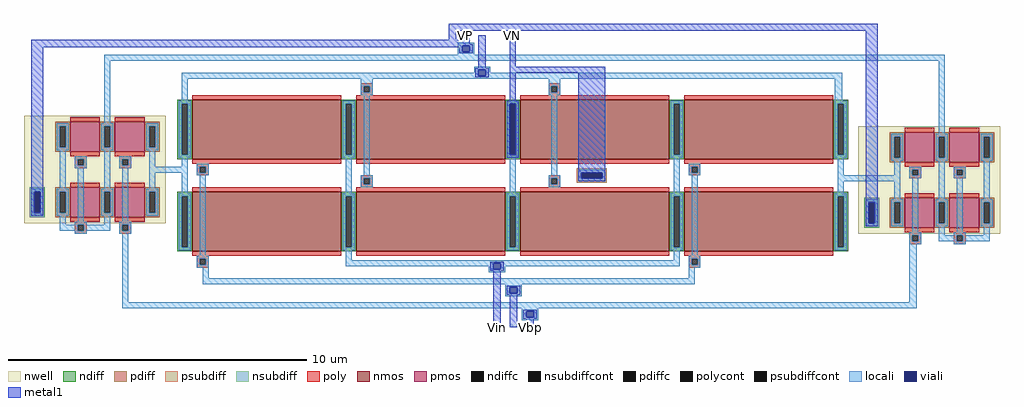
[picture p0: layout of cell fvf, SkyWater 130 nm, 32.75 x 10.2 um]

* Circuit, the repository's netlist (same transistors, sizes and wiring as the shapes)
* SPICE3 file created from fvf.ext - technology: sky130A

X0 Vin Vc Vdsg VN sky130_fd_pr__nfet_01v8 ad=0.5 pd=2.5 as=1 ps=5 w=2 l=5
X1 Vin Vdsg VN VN sky130_fd_pr__nfet_01v8 ad=0.5 pd=2.5 as=0.5 ps=2.5 w=2 l=5
X2 VP VP VP VP sky130_fd_pr__pfet_01v8 ad=0.25 pd=1.5 as=4 ps=24 w=1 l=1
X3 VP VP VP VP sky130_fd_pr__pfet_01v8 ad=0.5 pd=3 as=0 ps=0 w=1 l=1
X4 Vdsg Vc Vin VN sky130_fd_pr__nfet_01v8 ad=1 pd=5 as=0.5 ps=2.5 w=2 l=5
X5 Vdsg Vbp VP VP sky130_fd_pr__pfet_01v8 ad=0.5 pd=3 as=0.25 ps=1.5 w=1 l=1
X6 Vin Vc Vdsg VN sky130_fd_pr__nfet_01v8 ad=0.5 pd=2.5 as=1 ps=5 w=2 l=5
X7 VP Vbp Vdsg VP sky130_fd_pr__pfet_01v8 ad=0.25 pd=1.5 as=0.5 ps=3 w=1 l=1
X8 Vdsg Vc Vin VN sky130_fd_pr__nfet_01v8 ad=1 pd=5 as=0.5 ps=2.5 w=2 l=5
X9 VP VP VP VP sky130_fd_pr__pfet_01v8 ad=0.5 pd=3 as=0 ps=0 w=1 l=1
X10 VP VP VP VP sky130_fd_pr__pfet_01v8 ad=0.25 pd=1.5 as=0 ps=0 w=1 l=1
X11 VN Vdsg Vin VN sky130_fd_pr__nfet_01v8 ad=0.5 pd=2.5 as=0.5 ps=2.5 w=2 l=5
X12 Vin Vdsg VN VN sky130_fd_pr__nfet_01v8 ad=0.5 pd=2.5 as=0.5 ps=2.5 w=2 l=5
X13 Vdsg Vbp VP VP sky130_fd_pr__pfet_01v8 ad=0.5 pd=3 as=0.25 ps=1.5 w=1 l=1
X14 VP Vbp Vdsg VP sky130_fd_pr__pfet_01v8 ad=0.25 pd=1.5 as=0.5 ps=3 w=1 l=1
X15 VN Vdsg Vin VN sky130_fd_pr__nfet_01v8 ad=0.5 pd=2.5 as=0.5 ps=2.5 w=2 l=5
.end

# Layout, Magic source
magic
tech sky130A
<< nwell >>
rect -150 -160 325 200
rect 2650 -195 3125 165
<< nmos >>
rect 415 55 915 255
rect 965 55 1465 255
rect 1515 55 2015 255
rect 2065 55 2565 255
rect 415 -255 915 -55
rect 965 -255 1465 -55
rect 1515 -255 2015 -55
rect 2065 -255 2565 -55
<< pmos >>
rect 5 80 105 180
rect 155 80 255 180
rect 2805 45 2905 145
rect 2955 45 3055 145
rect 5 -140 105 -40
rect 155 -140 255 -40
rect 2805 -175 2905 -75
rect 2955 -175 3055 -75
<< ndiff >>
rect 365 240 415 255
rect 365 70 380 240
rect 400 70 415 240
rect 365 55 415 70
rect 915 240 965 255
rect 915 70 930 240
rect 950 70 965 240
rect 915 55 965 70
rect 1465 240 1515 255
rect 1465 70 1480 240
rect 1500 70 1515 240
rect 1465 55 1515 70
rect 2015 240 2065 255
rect 2015 70 2030 240
rect 2050 70 2065 240
rect 2015 55 2065 70
rect 2565 240 2615 255
rect 2565 70 2580 240
rect 2600 70 2615 240
rect 2565 55 2615 70
rect 365 -70 415 -55
rect 365 -240 380 -70
rect 400 -240 415 -70
rect 365 -255 415 -240
rect 915 -70 965 -55
rect 915 -240 930 -70
rect 950 -240 965 -70
rect 915 -255 965 -240
rect 1465 -70 1515 -55
rect 1465 -240 1480 -70
rect 1500 -240 1515 -70
rect 1465 -255 1515 -240
rect 2015 -70 2065 -55
rect 2015 -240 2030 -70
rect 2050 -240 2065 -70
rect 2015 -255 2065 -240
rect 2565 -70 2615 -55
rect 2565 -240 2580 -70
rect 2600 -240 2615 -70
rect 2565 -255 2615 -240
<< pdiff >>
rect -45 165 5 180
rect -45 95 -30 165
rect -10 95 5 165
rect -45 80 5 95
rect 105 165 155 180
rect 105 95 120 165
rect 140 95 155 165
rect 105 80 155 95
rect 255 165 305 180
rect 255 95 270 165
rect 290 95 305 165
rect 255 80 305 95
rect 2755 130 2805 145
rect 2755 60 2770 130
rect 2790 60 2805 130
rect 2755 45 2805 60
rect 2905 130 2955 145
rect 2905 60 2920 130
rect 2940 60 2955 130
rect 2905 45 2955 60
rect 3055 130 3105 145
rect 3055 60 3070 130
rect 3090 60 3105 130
rect 3055 45 3105 60
rect -45 -55 5 -40
rect -45 -125 -30 -55
rect -10 -125 5 -55
rect -45 -140 5 -125
rect 105 -55 155 -40
rect 105 -125 120 -55
rect 140 -125 155 -55
rect 105 -140 155 -125
rect 255 -55 305 -40
rect 255 -125 270 -55
rect 290 -125 305 -55
rect 255 -140 305 -125
rect 2755 -90 2805 -75
rect 2755 -160 2770 -90
rect 2790 -160 2805 -90
rect 2755 -175 2805 -160
rect 2905 -90 2955 -75
rect 2905 -160 2920 -90
rect 2940 -160 2955 -90
rect 2905 -175 2955 -160
rect 3055 -90 3105 -75
rect 3055 -160 3070 -90
rect 3090 -160 3105 -90
rect 3055 -175 3105 -160
<< ndiffc >>
rect 380 70 400 240
rect 930 70 950 240
rect 1480 70 1500 240
rect 2030 70 2050 240
rect 2580 70 2600 240
rect 380 -240 400 -70
rect 930 -240 950 -70
rect 1480 -240 1500 -70
rect 2030 -240 2050 -70
rect 2580 -240 2600 -70
<< pdiffc >>
rect -30 95 -10 165
rect 120 95 140 165
rect 270 95 290 165
rect 2770 60 2790 130
rect 2920 60 2940 130
rect 3070 60 3090 130
rect -30 -125 -10 -55
rect 120 -125 140 -55
rect 270 -125 290 -55
rect 2770 -160 2790 -90
rect 2920 -160 2940 -90
rect 3070 -160 3090 -90
<< psubdiff >>
rect 1705 10 1805 25
rect 1705 -10 1720 10
rect 1790 -10 1805 10
rect 1705 -25 1805 -10
<< nsubdiff >>
rect -130 -55 -80 -40
rect -130 -125 -115 -55
rect -95 -125 -80 -55
rect -130 -140 -80 -125
rect 2670 -90 2720 -75
rect 2670 -160 2685 -90
rect 2705 -160 2720 -90
rect 2670 -175 2720 -160
<< psubdiffcont >>
rect 1720 -10 1790 10
<< nsubdiffcont >>
rect -115 -125 -95 -55
rect 2685 -160 2705 -90
<< poly >>
rect 980 300 1020 310
rect 980 280 990 300
rect 1010 280 1020 300
rect 980 270 1020 280
rect 1610 300 1650 310
rect 1610 280 1620 300
rect 1640 280 1650 300
rect 1610 270 1650 280
rect 415 255 915 270
rect 965 255 1465 270
rect 1515 255 2015 270
rect 2065 255 2565 270
rect 5 180 105 195
rect 155 180 255 195
rect 5 65 105 80
rect 155 65 255 80
rect 20 55 60 65
rect 20 35 30 55
rect 50 35 60 55
rect 20 25 60 35
rect 170 55 210 65
rect 2805 145 2905 160
rect 2955 145 3055 160
rect 170 35 180 55
rect 200 35 210 55
rect 415 40 915 55
rect 965 40 1465 55
rect 1515 40 2015 55
rect 2065 40 2565 55
rect 170 25 210 35
rect 430 30 470 40
rect 430 10 440 30
rect 460 10 470 30
rect 2080 30 2120 40
rect 2805 30 2905 45
rect 2955 30 3055 45
rect 430 0 470 10
rect 980 -10 1020 0
rect 5 -40 105 -25
rect 155 -40 255 -25
rect 980 -30 990 -10
rect 1010 -30 1020 -10
rect 980 -40 1020 -30
rect 1610 -10 1650 0
rect 1610 -30 1620 -10
rect 1640 -30 1650 -10
rect 2080 10 2090 30
rect 2110 10 2120 30
rect 2080 0 2120 10
rect 2820 20 2860 30
rect 2820 0 2830 20
rect 2850 0 2860 20
rect 2820 -10 2860 0
rect 2970 20 3010 30
rect 2970 0 2980 20
rect 3000 0 3010 20
rect 2970 -10 3010 0
rect 1610 -40 1650 -30
rect 415 -55 915 -40
rect 965 -55 1465 -40
rect 1515 -55 2015 -40
rect 2065 -55 2565 -40
rect 5 -155 105 -140
rect 155 -155 255 -140
rect 20 -165 60 -155
rect 20 -185 30 -165
rect 50 -185 60 -165
rect 20 -195 60 -185
rect 170 -165 210 -155
rect 170 -185 180 -165
rect 200 -185 210 -165
rect 170 -195 210 -185
rect 2805 -75 2905 -60
rect 2955 -75 3055 -60
rect 2805 -190 2905 -175
rect 2955 -190 3055 -175
rect 2820 -200 2860 -190
rect 2820 -220 2830 -200
rect 2850 -220 2860 -200
rect 2820 -230 2860 -220
rect 2970 -200 3010 -190
rect 2970 -220 2980 -200
rect 3000 -220 3010 -200
rect 2970 -230 3010 -220
rect 415 -270 915 -255
rect 965 -270 1465 -255
rect 1515 -270 2015 -255
rect 2065 -270 2565 -255
rect 430 -280 470 -270
rect 430 -300 440 -280
rect 460 -300 470 -280
rect 430 -310 470 -300
rect 2080 -280 2120 -270
rect 2080 -300 2090 -280
rect 2110 -300 2120 -280
rect 2080 -310 2120 -300
<< polycont >>
rect 990 280 1010 300
rect 1620 280 1640 300
rect 30 35 50 55
rect 180 35 200 55
rect 440 10 460 30
rect 990 -30 1010 -10
rect 1620 -30 1640 -10
rect 2090 10 2110 30
rect 2830 0 2850 20
rect 2980 0 3000 20
rect 30 -185 50 -165
rect 180 -185 200 -165
rect 2830 -220 2850 -200
rect 2980 -220 3000 -200
rect 440 -300 460 -280
rect 2090 -300 2110 -280
<< locali >>
rect 1305 435 1360 445
rect 1305 415 1320 435
rect 1345 415 1360 435
rect 1305 405 1360 415
rect 120 385 2940 405
rect 120 175 140 385
rect 1360 355 1415 365
rect 1360 345 1375 355
rect 380 335 1375 345
rect 1400 345 1415 355
rect 1400 335 2595 345
rect 380 325 2595 335
rect 380 250 400 325
rect 980 300 1020 325
rect 980 280 990 300
rect 1010 280 1020 300
rect 980 270 1020 280
rect 1610 300 1650 325
rect 1610 280 1620 300
rect 1640 280 1650 300
rect 1610 270 1650 280
rect 370 240 410 250
rect -40 165 0 175
rect -40 95 -30 165
rect -10 95 0 165
rect -40 85 0 95
rect 110 165 150 175
rect 110 95 120 165
rect 140 95 150 165
rect 110 85 150 95
rect 260 165 300 175
rect 260 95 270 165
rect 290 95 300 165
rect 260 85 300 95
rect -30 -45 -10 85
rect 20 55 60 65
rect 20 35 30 55
rect 50 35 60 55
rect 20 25 60 35
rect -125 -55 -85 -45
rect -125 -125 -115 -55
rect -95 -125 -85 -55
rect -125 -135 -85 -125
rect -40 -55 0 -45
rect -40 -125 -30 -55
rect -10 -125 0 -55
rect -40 -135 0 -125
rect -30 -165 -10 -135
rect 30 -155 50 25
rect 120 -45 140 85
rect 170 55 210 65
rect 170 35 180 55
rect 200 35 210 55
rect 170 25 210 35
rect 270 30 290 85
rect 370 70 380 240
rect 400 70 410 240
rect 370 60 410 70
rect 920 240 960 250
rect 920 70 930 240
rect 950 70 960 240
rect 920 60 960 70
rect 380 30 400 60
rect 110 -55 150 -45
rect 110 -125 120 -55
rect 140 -125 150 -55
rect 110 -135 150 -125
rect 20 -165 60 -155
rect 120 -165 140 -135
rect 180 -155 200 25
rect 270 10 400 30
rect 270 -45 290 10
rect 260 -55 300 -45
rect 260 -125 270 -55
rect 290 -125 300 -55
rect 380 -60 400 10
rect 430 30 470 40
rect 430 10 440 30
rect 460 10 470 30
rect 430 0 470 10
rect 260 -135 300 -125
rect 370 -70 410 -60
rect -30 -185 30 -165
rect 50 -185 140 -165
rect 170 -165 210 -155
rect 170 -185 180 -165
rect 200 -185 210 -165
rect 20 -195 60 -185
rect 170 -195 210 -185
rect 180 -425 200 -195
rect 370 -240 380 -70
rect 400 -240 410 -70
rect 370 -250 410 -240
rect 440 -270 460 0
rect 930 -60 950 60
rect 990 0 1010 270
rect 1470 240 1510 250
rect 1470 70 1480 240
rect 1500 70 1510 240
rect 1470 60 1510 70
rect 980 -10 1020 0
rect 980 -30 990 -10
rect 1010 -30 1020 -10
rect 980 -40 1020 -30
rect 1480 -60 1500 60
rect 1620 0 1640 270
rect 2570 250 2595 325
rect 2020 240 2060 250
rect 2020 70 2030 240
rect 2050 70 2060 240
rect 2020 60 2060 70
rect 2570 240 2610 250
rect 2570 70 2580 240
rect 2600 70 2610 240
rect 2920 140 2940 385
rect 2570 60 2610 70
rect 2760 130 2800 140
rect 2760 60 2770 130
rect 2790 60 2800 130
rect 1710 10 1800 20
rect 1610 -10 1650 0
rect 1610 -30 1620 -10
rect 1640 -30 1650 -10
rect 1710 -10 1720 10
rect 1790 -10 1800 10
rect 1710 -20 1800 -10
rect 1610 -40 1650 -30
rect 2030 -60 2050 60
rect 2080 30 2120 40
rect 2080 10 2090 30
rect 2110 10 2120 30
rect 2080 0 2120 10
rect 2580 0 2600 60
rect 2760 50 2800 60
rect 2910 130 2950 140
rect 2910 60 2920 130
rect 2940 60 2950 130
rect 2910 50 2950 60
rect 3060 130 3100 140
rect 3060 60 3070 130
rect 3090 60 3100 130
rect 3060 50 3100 60
rect 2770 0 2790 50
rect 920 -70 960 -60
rect 920 -240 930 -70
rect 950 -240 960 -70
rect 920 -250 960 -240
rect 1470 -70 1510 -60
rect 1470 -240 1480 -70
rect 1500 -240 1510 -70
rect 1470 -250 1510 -240
rect 2020 -70 2060 -60
rect 2020 -240 2030 -70
rect 2050 -240 2060 -70
rect 2020 -250 2060 -240
rect 430 -280 470 -270
rect 430 -300 440 -280
rect 460 -300 470 -280
rect 430 -310 470 -300
rect 930 -285 950 -250
rect 2030 -285 2050 -250
rect 2090 -270 2110 0
rect 2580 -20 2790 0
rect 2820 20 2860 30
rect 2820 0 2830 20
rect 2850 0 2860 20
rect 2820 -10 2860 0
rect 2580 -60 2600 -20
rect 2570 -70 2610 -60
rect 2570 -240 2580 -70
rect 2600 -240 2610 -70
rect 2770 -80 2790 -20
rect 2675 -90 2715 -80
rect 2675 -160 2685 -90
rect 2705 -160 2715 -90
rect 2675 -170 2715 -160
rect 2760 -90 2800 -80
rect 2760 -160 2770 -90
rect 2790 -160 2800 -90
rect 2760 -170 2800 -160
rect 2830 -190 2850 -10
rect 2920 -80 2940 50
rect 2970 20 3010 30
rect 2970 0 2980 20
rect 3000 0 3010 20
rect 2970 -10 3010 0
rect 2910 -90 2950 -80
rect 2910 -160 2920 -90
rect 2940 -160 2950 -90
rect 2910 -170 2950 -160
rect 2570 -250 2610 -240
rect 2820 -200 2860 -190
rect 2820 -220 2830 -200
rect 2850 -220 2860 -200
rect 2920 -200 2940 -170
rect 2980 -190 3000 -10
rect 3070 -80 3090 50
rect 3060 -90 3100 -80
rect 3060 -160 3070 -90
rect 3090 -160 3100 -90
rect 3060 -170 3100 -160
rect 2970 -200 3010 -190
rect 3070 -200 3090 -170
rect 2920 -220 2980 -200
rect 3000 -220 3090 -200
rect 2820 -230 2860 -220
rect 2970 -230 3010 -220
rect 930 -295 2050 -285
rect 930 -305 1425 -295
rect 450 -345 470 -310
rect 1410 -315 1425 -305
rect 1450 -305 2050 -295
rect 2080 -280 2120 -270
rect 2080 -300 2090 -280
rect 2110 -300 2120 -280
rect 1450 -315 1465 -305
rect 1410 -325 1465 -315
rect 2080 -310 2120 -300
rect 2080 -345 2100 -310
rect 450 -365 2100 -345
rect 1465 -375 1520 -365
rect 1465 -395 1480 -375
rect 1505 -395 1520 -375
rect 1465 -405 1520 -395
rect 2820 -425 2845 -230
rect 180 -445 2845 -425
rect 1520 -455 1575 -445
rect 1520 -475 1535 -455
rect 1560 -475 1575 -455
rect 1520 -485 1575 -475
<< viali >>
rect 1320 415 1345 435
rect 1375 335 1400 355
rect -115 -125 -95 -55
rect 1480 70 1500 240
rect 1720 -10 1790 10
rect 2685 -160 2705 -90
rect 1425 -315 1450 -295
rect 1480 -395 1505 -375
rect 1535 -475 1560 -455
<< metal1 >>
rect 1275 485 2715 510
rect 1275 455 1300 485
rect 1320 455 1345 470
rect -125 440 1345 455
rect -125 435 1355 440
rect -125 430 1320 435
rect -125 -55 -85 430
rect 1310 415 1320 430
rect 1345 415 1355 435
rect 1310 410 1355 415
rect 1375 360 1400 470
rect 1480 365 1500 470
rect 1365 355 1410 360
rect 1365 335 1375 355
rect 1400 335 1410 355
rect 1365 330 1410 335
rect 1480 345 1800 365
rect 1480 250 1500 345
rect 1470 240 1510 250
rect 1470 70 1480 240
rect 1500 70 1510 240
rect 1470 60 1510 70
rect 1710 10 1800 345
rect 1710 -10 1720 10
rect 1790 -10 1800 10
rect 1710 -20 1800 -10
rect -125 -125 -115 -55
rect -95 -125 -85 -55
rect -125 -135 -85 -125
rect 2675 -90 2715 485
rect 2675 -160 2685 -90
rect 2705 -160 2715 -90
rect 2675 -170 2715 -160
rect 1415 -295 1460 -290
rect 1415 -315 1425 -295
rect 1450 -315 1460 -295
rect 1415 -320 1460 -315
rect 1425 -510 1450 -320
rect 1470 -375 1515 -370
rect 1470 -395 1480 -375
rect 1505 -395 1515 -375
rect 1470 -400 1515 -395
rect 1480 -510 1505 -400
rect 1525 -455 1570 -450
rect 1525 -475 1535 -455
rect 1560 -475 1570 -455
rect 1525 -480 1570 -475
rect 1535 -510 1560 -480
<< labels >>
rlabel metal1 1330 470 1330 470 1 VP
port 1 n
rlabel metal1 1390 470 1390 470 1 Vdsg
port 2 n
rlabel metal1 1490 470 1490 470 1 VN
port 3 n
rlabel metal1 1440 -510 1440 -510 5 Vin
port 4 s
rlabel metal1 1490 -510 1490 -510 5 Vc
port 5 s
rlabel metal1 1550 -510 1550 -510 5 Vbp
port 6 s
<< end >>
